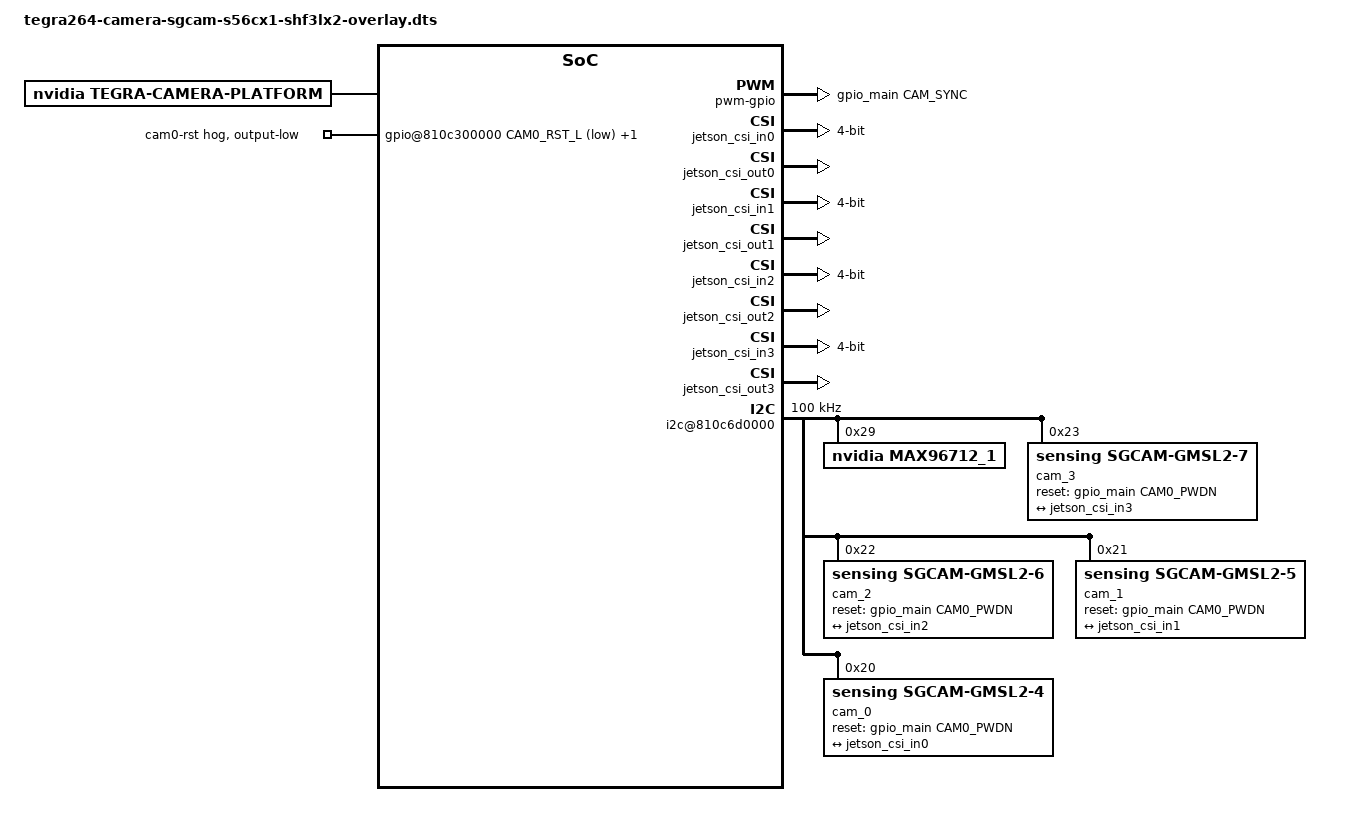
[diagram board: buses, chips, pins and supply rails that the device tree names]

// SPDX-License-Identifier: GPL-2.0-only
// SPDX-FileCopyrightText: Copyright (c) 2018-2023, INTEL CORPORATION.  All rights reserved.

/dts-v1/;
/plugin/;

#include <dt-bindings/clock/tegra264-clock.h>
#include <dt-bindings/gpio/tegra264-gpio.h>


/* camera control gpio definitions */
#define CAM0_RST_L	TEGRA264_MAIN_GPIO(V, 2)
#define CAM0_PWDN	TEGRA264_MAIN_GPIO(AL, 1)
// #define CAM1_RST_L	TEGRA264_MAIN_GPIO(Q, 3)
// #define CAM1_PWDN	TEGRA264_MAIN_GPIO(Q, 2)
#define CAM_SYNC    TEGRA264_MAIN_GPIO(K, 5)

#define CAMERA_I2C_MUX_BUS(x) (0x1E + x)
#define JETSON_COMPATIBLE	"nvidia,p3971-0089+p3834-0008", "nvidia,p3971-0050+p3834-0005", "nvidia,p3971-0080+p3834-0008", "nvidia,p3834-0008", "nvidia,tegra264"

/ {
	overlay-name = "Jetson Sensing SG8A_AGTH_G2Y_A1 S56Cx1_SHF3Lx2";
	jetson-header-name = "Jetson AGX CSI Connector";
	compatible = JETSON_COMPATIBLE;

	fragment@0 {
		target-path = "/";
		__overlay__ {
			tegra-capture-vi {
				num-channels = <4>;
				ports {
					status = "okay";
					port@0 {
						reg = <0>;
						status = "okay";
						jetson_vi_in0: endpoint {
							status = "okay";
							vc-id = <0>;
							port-index = <0>;
							bus-width = <4>;
							remote-endpoint = <&jetson_csi_out0>;
						};
					};
					port@1 {
						reg = <1>;
						status = "okay";
						jetson_vi_in1: endpoint {
							status = "okay";
							vc-id = <1>;
							port-index = <0>;
							bus-width = <4>;
							remote-endpoint = <&jetson_csi_out1>;
						};
					};
					port@2 {
						reg = <2>;
						status = "okay";
						jetson_vi_in2: endpoint {
							status = "okay";
							vc-id = <2>;
							port-index = <0>;
							bus-width = <4>;
							remote-endpoint = <&jetson_csi_out2>;
						};
					};
					port@3 {
						reg = <3>;
						status = "okay";
						jetson_vi_in3: endpoint {
							status = "okay";
							vc-id = <3>;
							port-index = <0>;
							bus-width = <4>;
							remote-endpoint = <&jetson_csi_out3>;
						};
					};
				};
			};
	
			tegra-camera-platform {
				compatible = "nvidia, tegra-camera-platform";

				modules {
					status = "okay";
					
					module0 {
						status = "okay";
						badge = "cam_bottomleft";
						position = "bottomleft";
						orientation = "1";
						drivernode0 {
							status = "okay";
							pcl_id = "v4l2_sensor";
							sysfs-device-tree = "/sys/firmware/devicetree/base/bus@0/i2c@810c6d0000/cam_0@20";
						};
					};
					module1 {
						status = "okay";
						badge = "cam_centerleft";
						position = "centerleft";
						orientation = "1";
						drivernode0 {
							status = "okay";
							pcl_id = "v4l2_sensor";
							sysfs-device-tree = "/sys/firmware/devicetree/base/bus@0/i2c@810c6d0000/cam_1@21";
						};
					};
					module2 {
						status = "okay";
						badge = "cam_centerright";
						position = "centerright";
						orientation = "1";
						drivernode0 {
							status = "okay";
							pcl_id = "v4l2_sensor";
							sysfs-device-tree = "/sys/firmware/devicetree/base/bus@0/i2c@810c6d0000/cam_2@22";
						};
					};
					module3 {
						status = "okay";
						badge = "cam_topleft";
						position = "topleft";
						orientation = "1";
						drivernode0 {
							status = "okay";
							pcl_id = "v4l2_sensor";
							sysfs-device-tree = "/sys/firmware/devicetree/base/bus@0/i2c@810c6d0000/cam_3@23";
						};
					};
				};
			};

			bus@0 {

				/* set camera gpio direction to output */
				gpio@810c300000 {
					camera-control-output-low {
						gpio-hog;
						output-low;
						gpios = <CAM0_RST_L 1 CAM0_PWDN 1>;
						label = "cam0-rst", "cam0-pwdn";
					};
				};

				pwm-gpio {
					compatible = "pwm-gpio";
					status = "okay";
					gpios = <&gpio_main CAM_SYNC GPIO_ACTIVE_LOW>;
				};

				host1x@8181200000 {
					nvcsi@8188000000 {
						num-channels = <4>;
						channel@0 {
							reg = <0>;
							status = "okay";
							ports {
								status = "okay";
								port@0 {
									reg = <0>;
									status = "okay";
									jetson_csi_in0: endpoint@0{
										status = "okay";
										port-index = <0>;
										bus-width = <4>;
										remote-endpoint = <&cam_csi_out0>;
									};
								};
								port@1 {
									reg = <1>;
									status = "okay";
									jetson_csi_out0: endpoint@1 {
										status = "okay";
										remote-endpoint = <&jetson_vi_in0>;
									};
								};
							};
						};
						channel@1 {
							reg = <1>;
							status = "okay";
							ports {
								status = "okay";
								port@0 {
									reg = <0>;
									status = "okay";
									jetson_csi_in1: endpoint@2 {
										status = "okay";
										port-index = <0>;
										bus-width = <4>;
										remote-endpoint = <&cam_csi_out1>;
									};
								};
								port@1 {
									reg = <1>;
									status = "okay";
									jetson_csi_out1: endpoint@3 {
										status = "okay";
										remote-endpoint = <&jetson_vi_in1>;
									};
								};
							};
						};
						channel@2{
							reg = <2>;
							status = "okay";
							ports {
								status = "okay";
								port@0 {
									reg = <0>;
									status = "okay";
									jetson_csi_in2: endpoint@3 {
										status = "okay";
										port-index = <0>;
										bus-width = <4>;
										remote-endpoint = <&cam_csi_out2>;
									};
								};
								port@1 {
									reg = <1>;
									status = "okay";
									jetson_csi_out2: endpoint@4 {
										status = "okay";
										remote-endpoint = <&jetson_vi_in2>;
									};
								};
							};
						};
						channel@3 {
							reg = <3>;
							status = "okay";
							ports {
								status = "okay";
								port@0 {
									reg = <0>;
									status = "okay";
									jetson_csi_in3: endpoint@6 {
										status = "okay";
										port-index = <0>;
										bus-width = <4>;
										remote-endpoint = <&cam_csi_out3>;
									};
								};
								port@1 {
									reg = <1>;
									status = "okay";
									jetson_csi_out3: endpoint@7 {
										status = "okay";
										remote-endpoint = <&jetson_vi_in3>;
									};
								};
							};
						};
					};
				};

				i2c@810c6d0000 {
					clock-frequency = <100000>;
					status = "okay";

					max96712_1@29 {
						compatible = "nvidia,max96712_1";
						reg = <0x29>;
					};
					

					cam_3@23 {
						compatible = "sensing,sgcam-gmsl2-7";
						def-addr = <0x11>;
						reg = <0x23>;
						eeprom-def = <0x50>;
						eeprom-addr = <0x33>;
						devnode = "video7";

						/* Physical dimensions of sensor */
						physical_w = "15.0";
						physical_h = "12.5";

						sensor_model ="sgx-yuv-gmsl2";

						/* Defines number of frames to be dropped by driver internally after applying */
						/* sensor crop settings. Some sensors send corrupt frames after applying */
						/* crop co-ordinates */
						post_crop_frame_drop = "0";

						/* Convert Gain to unit of dB (decibel) befor passing to kernel driver */
						use_decibel_gain = "false";

						/* enable CID_SENSOR_MODE_ID for sensor modes selection */
						use_sensor_mode_id = "true";

						clocks = <&bpmp TEGRA264_CLK_EXTPERIPH1>,
						<&bpmp TEGRA264_CLK_EXTPERIPH1>;
						clock-names = "extperiph1", "pllp_grtba";
						mclk = "extperiph1";
						der_id = <1>;//
						reset-gpios = <&gpio_main CAM0_PWDN GPIO_ACTIVE_HIGH>;

						mode0 {/*mode SENSOR_MODE_1920X1536_CROP_30FPS*/
							mclk_khz = "24000";
							num_lanes = "4";
							tegra_sinterface = "serial_a";
							vc_id = "3";
							phy_mode = "DPHY";
							discontinuous_clk = "no";
							dpcm_enable = "false";
							cil_settletime = "0";
							lane_polarity = "0";
							dynamic_pixel_bit_depth = "16";
							csi_pixel_bit_depth = "16";
							mode_type = "yuv";
							pixel_phase = "uyvy";

							active_w = "1920";
							active_h = "1536";
							readout_orientation = "0";
							line_length = "2200";
							inherent_gain = "1";
							mclk_multiplier = "25";
							pix_clk_hz = "74250000";
							serdes_pix_clk_hz = "500000000";

							gain_factor = "100";
							min_gain_val = "100"; /* dB */
							max_gain_val = "1600"; /* dB */
							step_gain_val = "1"; /* 0.1 */
							default_gain = "100";
							min_hdr_ratio = "1";
							max_hdr_ratio = "1";
							framerate_factor = "1000000";
							min_framerate = "30000000";
							max_framerate = "30000000";
							step_framerate = "1";
							default_framerate = "30000000";
							exposure_factor = "1000000";
							min_exp_time = "28"; /*us, 2 lines*/
							max_exp_time = "22000";
							step_exp_time = "1";
							default_exp_time = "22000";/* us */
							embedded_metadata_height = "0";
						};

						ports {
							#address-cells = <1>;
							#size-cells = <0>;
							port@0 {
								reg = <0>;
								cam_csi_out3: endpoint {
									vc-id = <3>;
									port-index = <0>;
									bus-width = <4>;
									remote-endpoint = <&jetson_csi_in3>;
								};
							};
						};
					};
					cam_2@22 {
						compatible = "sensing,sgcam-gmsl2-6";
						def-addr = <0x10>;
						reg = <0x22>;
						eeprom-def = <0x50>;
						eeprom-addr = <0x32>;
						devnode = "video6";

						/* Physical dimensions of sensor */
						physical_w = "15.0";
						physical_h = "12.5";

						sensor_model ="sgx-yuv-gmsl2";

						/* Defines number of frames to be dropped by driver internally after applying */
						/* sensor crop settings. Some sensors send corrupt frames after applying */
						/* crop co-ordinates */
						post_crop_frame_drop = "0";

						/* Convert Gain to unit of dB (decibel) befor passing to kernel driver */
						use_decibel_gain = "false";

						/* enable CID_SENSOR_MODE_ID for sensor modes selection */
						use_sensor_mode_id = "true";

						clocks = <&bpmp TEGRA264_CLK_EXTPERIPH1>,
						<&bpmp TEGRA264_CLK_EXTPERIPH1>;
						clock-names = "extperiph1", "pllp_grtba";
						mclk = "extperiph1";
						der_id = <1>;//
						reset-gpios = <&gpio_main CAM0_PWDN GPIO_ACTIVE_HIGH>;

						mode0 {/*mode isx031_MODE_1920X1536_CROP_30FPS*/
							mclk_khz = "24000";
							num_lanes = "4";
							tegra_sinterface = "serial_a";
							vc_id = "2";
							phy_mode = "DPHY";
							discontinuous_clk = "no";
							dpcm_enable = "false";
							cil_settletime = "0";
							lane_polarity = "0";
							dynamic_pixel_bit_depth = "16";
							csi_pixel_bit_depth = "16";
							mode_type = "yuv";
							pixel_phase = "uyvy";

							active_w = "1920";
							active_h = "1536";
							readout_orientation = "0";
							line_length = "2200";
							inherent_gain = "1";
							mclk_multiplier = "25";
							pix_clk_hz = "74250000";
							serdes_pix_clk_hz = "500000000";

							gain_factor = "100";
							min_gain_val = "100"; /* dB */
							max_gain_val = "1600"; /* dB */
							step_gain_val = "1"; /* 0.1 */
							default_gain = "100";
							min_hdr_ratio = "1";
							max_hdr_ratio = "1";
							framerate_factor = "1000000";
							min_framerate = "30000000";
							max_framerate = "30000000";
							step_framerate = "1";
							default_framerate = "30000000";
							exposure_factor = "1000000";
							min_exp_time = "28"; /*us, 2 lines*/
							max_exp_time = "22000";
							step_exp_time = "1";
							default_exp_time = "22000";/* us */
							embedded_metadata_height = "0";
						};

						ports {
							#address-cells = <1>;
							#size-cells = <0>;
							port@0 {
								reg = <0>;
								cam_csi_out2: endpoint {
									vc-id = <2>;
									port-index = <0>;
									bus-width = <4>;
									remote-endpoint = <&jetson_csi_in2>;
								};
							};
						};
					};
					cam_1@21 {
						compatible = "sensing,sgcam-gmsl2-5";
						def-addr = <0x11>;
						reg = <0x21>;
						eeprom-def = <0x50>;
						eeprom-addr = <0x31>;
						devnode = "video5";

						/* Physical dimensions of sensor */
						physical_w = "15.0";
						physical_h = "12.5";

						sensor_model ="s56";

						/* Defines number of frames to be dropped by driver internally after applying */
						/* sensor crop settings. Some sensors send corrupt frames after applying */
						/* crop co-ordinates */
						post_crop_frame_drop = "0";

						/* Convert Gain to unit of dB (decibel) befor passing to kernel driver */
						use_decibel_gain = "false";

						/* enable CID_SENSOR_MODE_ID for sensor modes selection */
						use_sensor_mode_id = "true";

						clocks = <&bpmp TEGRA264_CLK_EXTPERIPH1>,
						<&bpmp TEGRA264_CLK_EXTPERIPH1>;
						clock-names = "extperiph1", "pllp_grtba";
						mclk = "extperiph1";
						der_id = <1>;//
						reset-gpios = <&gpio_main CAM0_PWDN GPIO_ACTIVE_HIGH>;

						mode0 {/*mode SENSOR_MODE_2560X1984_30FPS*/
							mclk_khz = "24000";
							num_lanes = "4";
							tegra_sinterface = "serial_a";
							vc_id = "1";
							phy_mode = "DPHY";
							discontinuous_clk = "no";
							dpcm_enable = "false";
							cil_settletime = "0";
							lane_polarity = "0";
							dynamic_pixel_bit_depth = "10";
							csi_pixel_bit_depth = "10";
							mode_type = "bayer";
							pixel_phase = "gbrg";

							active_w = "2560";
							active_h = "1984";
							readout_orientation = "0";
							line_length = "2800";
							inherent_gain = "1";
							mclk_multiplier = "25";
							pix_clk_hz = "200000000";
							serdes_pix_clk_hz = "600000000";

							gain_factor = "100";
							min_gain_val = "100"; 
							max_gain_val = "400";
							step_gain_val = "1";
							default_gain = "100"; 
							min_hdr_ratio = "1";
							max_hdr_ratio = "1";
							framerate_factor = "1000000";
							min_framerate = "30000000";
							max_framerate = "30000000";
							step_framerate = "1";
							default_framerate = "30000000";
							exposure_factor = "1000000";
							min_exp_time = "100"; /* 4 * 8.992μs = 35.968 μs */
							max_exp_time = "30000";
							step_exp_time = "1";
							default_exp_time = "30000"; /* μs */
							embedded_metadata_height = "0";
						};

						ports {
							#address-cells = <1>;
							#size-cells = <0>;
							port@0 {
								reg = <0>;
								cam_csi_out1: endpoint {
									vc-id = <1>;
									port-index = <0>;
									bus-width = <4>;
									remote-endpoint = <&jetson_csi_in1>;
								};
							};
						};
					};
					cam_0@20 {
						compatible = "sensing,sgcam-gmsl2-4";
						def-addr = <0x10>;
						reg = <0x20>;
						eeprom-def = <0x50>;
						eeprom-addr = <0x30>;
						devnode = "video4";

						/* Physical dimensions of sensor */
						physical_w = "15.0";
						physical_h = "12.5";

						sensor_model ="s56";

						/* Defines number of frames to be dropped by driver internally after applying */
						/* sensor crop settings. Some sensors send corrupt frames after applying */
						/* crop co-ordinates */
						post_crop_frame_drop = "0";

						/* Convert Gain to unit of dB (decibel) befor passing to kernel driver */
						use_decibel_gain = "false";

						/* enable CID_SENSOR_MODE_ID for sensor modes selection */
						use_sensor_mode_id = "true";

						clocks = <&bpmp TEGRA264_CLK_EXTPERIPH1>,
						<&bpmp TEGRA264_CLK_EXTPERIPH1>;
						clock-names = "extperiph1", "pllp_grtba";
						mclk = "extperiph1";
						der_id = <1>;//
						reset-gpios = <&gpio_main CAM0_PWDN GPIO_ACTIVE_HIGH>;

						mode0 {/*mode SENSOR_MODE_2560X1984_30FPS*/
							mclk_khz = "24000";
							num_lanes = "4";
							tegra_sinterface = "serial_a";
							vc_id = "0";
							phy_mode = "DPHY";
							discontinuous_clk = "no";
							dpcm_enable = "false";
							cil_settletime = "0";
							lane_polarity = "0";
							dynamic_pixel_bit_depth = "10";
							csi_pixel_bit_depth = "10";
							mode_type = "bayer";
							pixel_phase = "gbrg";

							active_w = "2560";
							active_h = "1984";
							readout_orientation = "0";
							line_length = "2800";
							inherent_gain = "1";
							mclk_multiplier = "25";
							pix_clk_hz = "200000000";
							serdes_pix_clk_hz = "600000000";

							gain_factor = "100";
							min_gain_val = "100"; 
							max_gain_val = "400";
							step_gain_val = "1";
							default_gain = "100"; 
							min_hdr_ratio = "1";
							max_hdr_ratio = "1";
							framerate_factor = "1000000";
							min_framerate = "30000000";
							max_framerate = "30000000";
							step_framerate = "1";
							default_framerate = "30000000";
							exposure_factor = "1000000";
							min_exp_time = "100"; /* 4 * 8.992μs = 35.968 μs */
							max_exp_time = "30000";
							step_exp_time = "1";
							default_exp_time = "30000"; /* μs */
							embedded_metadata_height = "0";
						};
						
						ports {
							#address-cells = <1>;
							#size-cells = <0>;
							port@0 {
								reg = <0>;
								cam_csi_out0: endpoint {
									vc-id = <0>;
									port-index = <0>;
									bus-width = <4>;
									remote-endpoint = <&jetson_csi_in0>;
								};
							};
						};
					};
				};

				
			};
		};
	};
};
